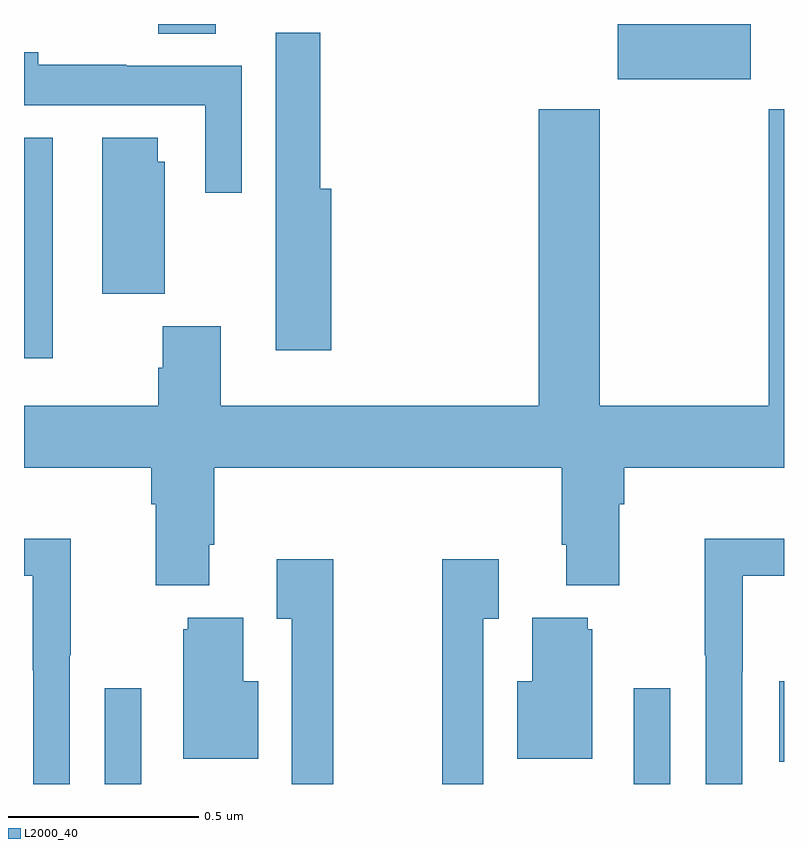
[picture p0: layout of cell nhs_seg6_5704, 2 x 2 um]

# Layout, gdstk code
import gdstk
lib = gdstk.Library(unit=1e-6, precision=1e-09)
def R(c, l, rs):  # rectangles x0, y0, x1, y1
    for r in rs: c.add(gdstk.rectangle(r[:2], r[2:], *l))
def P(c, l, *ps):  # polygons
    for p in ps: c.add(gdstk.Polygon(p, *l))
L2000_40 = (2000, 40)

nhs_seg6_5704 = lib.new_cell('nhs_seg6_5704')
R(nhs_seg6_5704, L2000_40, [(186.213,950.5,186.309,950.752), (187.605,950.5,187.701,950.752), (187.988,950.558,188,950.77), (186,951.62,186.076,952.201), (187.562,952.355,187.912,952.5), (186.353,952.475,186.505,952.5)])
P(nhs_seg6_5704, L2000_40, [(186.809,952.066),(186.779,952.066),(186.779,952.477),(186.663,952.477),(186.663,951.962),(186.662,951.962),(186.662,951.642),(186.809,951.642)],
  [(186.573,952.39),(186.269,952.39),(186.269,952.393),(186.038,952.393),(186.038,952.426),(186,952.426),(186,952.286),(186.477,952.286),(186.477,952.056),(186.573,952.056)],
  [(186.487,951.13),(186.5,951.13),(186.5,951.332),(187.415,951.332),(187.415,951.13),(187.427,951.13),(187.427,951.023),(187.567,951.023),(187.567,951.236),(187.58,951.236),(187.58,951.332),(188,951.332),(188,952.276),(187.96,952.276),(187.96,951.496),(187.515,951.496),(187.515,952.276),(187.355,952.276),(187.355,951.496),(186.518,951.496),(186.518,951.705),(186.365,951.705),(186.365,951.596),(186.353,951.596),(186.353,951.496),(186,951.496),(186,951.332),(186.335,951.332),(186.335,951.236),(186.347,951.236),(186.347,951.023),(186.487,951.023)],
  [(186.37,952.137),(186.352,952.137),(186.352,952.201),(186.206,952.201),(186.206,951.79),(186.37,951.79)],
  [(186.12,950.839),(186.123,950.839),(186.123,951.146),(186,951.146),(186,951.048),(186.023,951.048),(186.023,950.8),(186.024,950.8),(186.024,950.5),(186.12,950.5)],
  [(187.89,950.797),(187.891,950.797),(187.891,951.048),(188,951.048),(188,951.146),(187.792,951.146),(187.792,950.839),(187.794,950.839),(187.794,950.5),(187.89,950.5)],
  [(186.814,951.091),(186.665,951.091),(186.665,950.935),(186.705,950.935),(186.705,950.5),(186.814,950.5)],
  [(187.209,950.935),(187.249,950.935),(187.249,951.091),(187.101,951.091),(187.101,950.5),(187.209,950.5)],
  [(186.616,950.77),(186.577,950.77),(186.577,950.938),(186.431,950.938),(186.431,950.907),(186.419,950.907),(186.419,950.567),(186.616,950.567)],
  [(187.495,950.907),(187.484,950.907),(187.484,950.938),(187.337,950.938),(187.337,950.77),(187.298,950.77),(187.298,950.567),(187.495,950.567)])

lib.write_gds('nhs_seg6_5704.gds')
